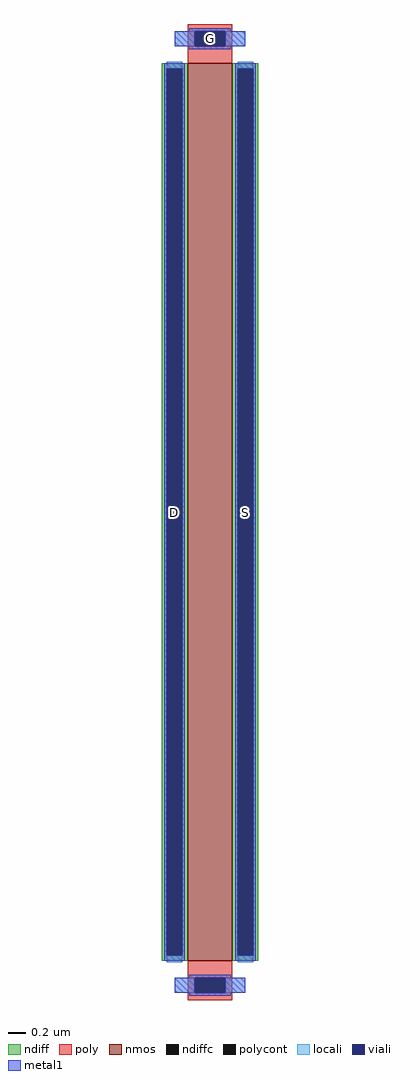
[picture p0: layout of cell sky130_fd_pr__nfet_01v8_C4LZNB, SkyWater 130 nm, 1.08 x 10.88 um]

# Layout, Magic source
magic
tech sky130A
magscale 1 2
<< nmos >>
rect -50 -1000 50 1000
<< ndiff >>
rect -108 988 -50 1000
rect -108 -988 -96 988
rect -62 -988 -50 988
rect -108 -1000 -50 -988
rect 50 988 108 1000
rect 50 -988 62 988
rect 96 -988 108 988
rect 50 -1000 108 -988
<< ndiffc >>
rect -96 -988 -62 988
rect 62 -988 96 988
<< poly >>
rect -50 1072 50 1088
rect -50 1038 -34 1072
rect 34 1038 50 1072
rect -50 1000 50 1038
rect -50 -1038 50 -1000
rect -50 -1072 -34 -1038
rect 34 -1072 50 -1038
rect -50 -1088 50 -1072
<< polycont >>
rect -34 1038 34 1072
rect -34 -1072 34 -1038
<< locali >>
rect -79 1038 -34 1072
rect 34 1038 79 1072
rect -96 988 -62 1004
rect -96 -1004 -62 -988
rect 62 988 96 1004
rect 62 -1004 96 -988
rect -79 -1072 -34 -1038
rect 34 -1072 79 -1038
<< viali >>
rect -34 1038 34 1072
rect -96 -988 -62 988
rect 62 -988 96 988
rect -34 -1072 34 -1038
<< metal1 >>
rect -46 1072 46 1078
rect -79 1038 -34 1072
rect 34 1038 79 1072
rect -46 1032 46 1038
rect -102 988 -56 1000
rect -102 -988 -96 988
rect -62 -988 -56 988
rect -102 -1000 -56 -988
rect 56 988 102 1000
rect 56 -988 62 988
rect 96 -988 102 988
rect 56 -1000 102 -988
rect -46 -1038 46 -1032
rect -79 -1072 -34 -1038
rect 34 -1072 79 -1038
rect -46 -1078 46 -1072
<< labels >>
rlabel ndiffc -79 0 -79 0 0 D
port 1 nsew
rlabel ndiffc 79 0 79 0 0 S
port 2 nsew
rlabel polycont 0 1055 0 1055 0 G
port 3 nsew
<< properties >>
string gencell sky130_fd_pr__nfet_01v8
string library sky130
string parameters w 10 l 0.5 m 1 nf 1 diffcov 100 polycov 100 guard 0 glc 1 grc 1 gtc 1 gbc 1 tbcov 100 rlcov 100 topc 1 botc 1 poverlap 0 doverlap 0 lmin 0.15 wmin 0.42 class mosfet compatible {sky130_fd_pr__nfet_01v8 sky130_fd_pr__nfet_01v8_lvt  sky130_fd_bs_flash__special_sonosfet_star  sky130_fd_pr__nfet_g5v0d10v5 sky130_fd_pr__nfet_05v0_nvt  sky130_fd_pr__nfet_03v3_nvt} full_metal 0 conn_gates 1 viasrc 100 viadrn 100 viagate 100 viagb 0 viagr 0 viagl 0 viagt 0 doports 1
<< end >>
